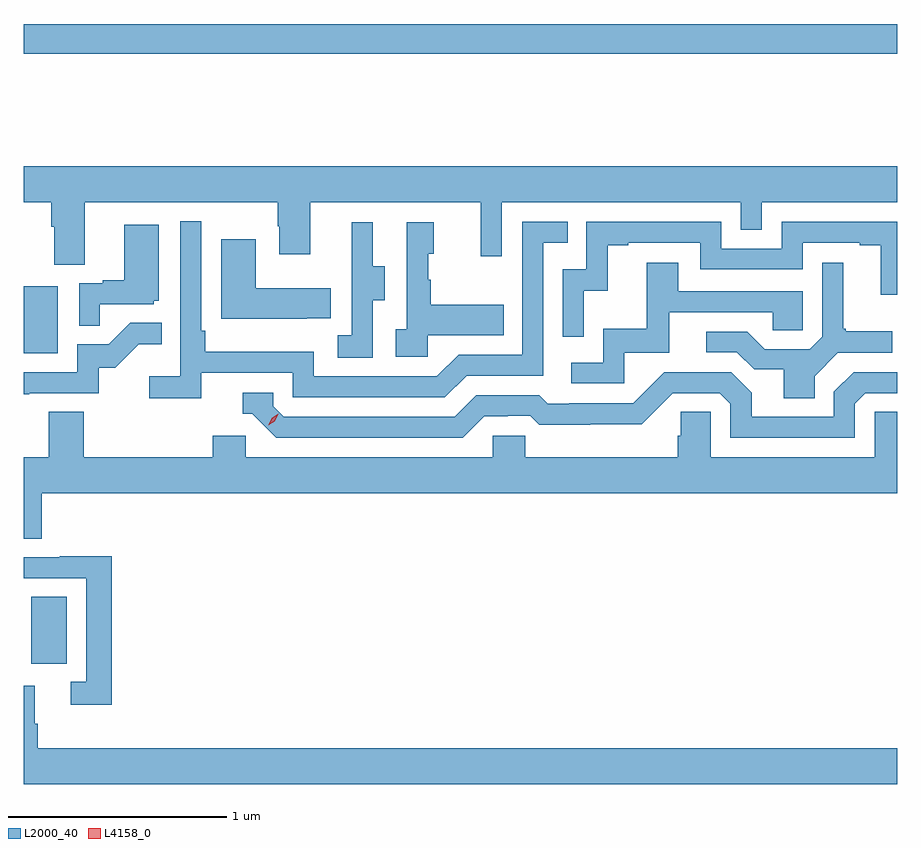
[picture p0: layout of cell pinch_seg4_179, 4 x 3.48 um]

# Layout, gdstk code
import gdstk
lib = gdstk.Library(unit=1e-6, precision=1e-09)
def R(c, l, rs):  # rectangles x0, y0, x1, y1
    for r in rs: c.add(gdstk.rectangle(r[:2], r[2:], *l))
def P(c, l, *ps):  # polygons
    for p in ps: c.add(gdstk.Polygon(p, *l))
L2000_40 = (2000, 40)
L4158_0 = (4158, 0)

pinch_seg4_179 = lib.new_cell('pinch_seg4_179')
R(pinch_seg4_179, L2000_40, [(1103.09,796.038,1103.254,796.345), (1103.056,797.46,1103.212,797.767), (1103.056,798.832,1107.056,798.968)])
P(pinch_seg4_179, L2000_40, [(1103.056,798.152),(1103.183,798.152),(1103.183,798.04),(1103.195,798.04),(1103.195,797.866),(1103.335,797.866),(1103.335,798.152),(1104.22,798.152),(1104.22,798.041),(1104.227,798.041),(1104.227,797.913),(1104.367,797.913),(1104.367,798.152),(1105.148,798.152),(1105.148,797.904),(1105.245,797.904),(1105.245,798.152),(1106.34,798.152),(1106.34,798.025),(1106.436,798.025),(1106.436,798.152),(1107.056,798.152),(1107.056,798.316),(1103.056,798.316)],
  [(1103.87,797.37),(1104.288,797.37),(1104.288,797.259),(1104.985,797.259),(1105.084,797.358),(1105.434,797.358),(1105.434,797.967),(1105.547,797.967),(1105.547,798.063),(1105.338,798.063),(1105.338,797.454),(1105.047,797.454),(1104.948,797.355),(1104.384,797.355),(1104.384,797.467),(1103.888,797.467),(1103.888,797.563),(1103.868,797.563),(1103.868,798.064),(1103.772,798.064),(1103.772,797.356),(1103.631,797.356),(1103.631,797.254),(1103.87,797.254)],
  [(1105.62,797.747),(1105.73,797.747),(1105.73,797.955),(1105.825,797.955),(1105.825,797.967),(1106.154,797.967),(1106.154,797.844),(1106.622,797.844),(1106.622,797.967),(1106.885,797.967),(1106.885,797.955),(1106.981,797.955),(1106.981,797.729),(1107.056,797.729),(1107.056,798.063),(1106.526,798.063),(1106.526,797.94),(1106.25,797.94),(1106.25,798.063),(1105.632,798.063),(1105.632,797.844),(1105.524,797.844),(1105.524,797.535),(1105.62,797.535)],
  [(1104.654,797.704),(1104.709,797.704),(1104.709,797.859),(1104.655,797.859),(1104.655,798.061),(1104.557,798.061),(1104.557,797.847),(1104.558,797.847),(1104.558,797.543),(1104.495,797.543),(1104.495,797.44),(1104.654,797.44)],
  [(1104.906,797.543),(1105.253,797.543),(1105.253,797.683),(1104.919,797.683),(1104.919,797.798),(1104.909,797.798),(1104.909,797.916),(1104.934,797.916),(1104.934,798.061),(1104.81,798.061),(1104.81,797.57),(1104.759,797.57),(1104.759,797.445),(1104.906,797.445)],
  [(1103.405,797.685),(1103.652,797.685),(1103.652,797.7),(1103.674,797.7),(1103.674,798.049),(1103.516,798.049),(1103.516,797.794),(1103.417,797.794),(1103.417,797.781),(1103.31,797.781),(1103.31,797.587),(1103.405,797.587)],
  [(1104.353,797.621),(1104.461,797.621),(1104.461,797.758),(1104.118,797.758),(1104.118,797.983),(1103.96,797.983),(1103.96,797.618),(1104.353,797.618)],
  [(1105.806,797.463),(1106.011,797.463),(1106.011,797.649),(1106.485,797.649),(1106.485,797.565),(1106.622,797.565),(1106.622,797.745),(1106.053,797.745),(1106.053,797.875),(1105.909,797.875),(1105.909,797.572),(1105.71,797.572),(1105.71,797.418),(1105.563,797.418),(1105.563,797.322),(1105.806,797.322)],
  [(1106.677,797.356),(1106.784,797.463),(1107.034,797.463),(1107.034,797.56),(1106.821,797.56),(1106.821,797.572),(1106.809,797.572),(1106.809,797.875),(1106.712,797.875),(1106.712,797.535),(1106.655,797.478),(1106.449,797.478),(1106.368,797.559),(1106.181,797.559),(1106.181,797.466),(1106.322,797.466),(1106.402,797.386),(1106.537,797.386),(1106.537,797.254),(1106.677,797.254)],
  [(1103.081,797.277),(1103.4,797.277),(1103.4,797.394),(1103.476,797.394),(1103.583,797.501),(1103.687,797.501),(1103.687,797.6),(1103.543,797.6),(1103.445,797.502),(1103.301,797.502),(1103.301,797.373),(1103.056,797.373),(1103.056,797.272),(1103.081,797.272)],
  [(1105.165,797.172),(1105.272,797.172),(1105.272,797.175),(1105.375,797.175),(1105.417,797.133),(1105.65,797.133),(1105.65,797.135),(1105.886,797.135),(1106.028,797.277),(1106.244,797.277),(1106.292,797.229),(1106.292,797.073),(1106.862,797.073),(1106.862,797.229),(1106.91,797.277),(1107.056,797.277),(1107.056,797.373),(1106.856,797.373),(1106.766,797.283),(1106.766,797.169),(1106.389,797.169),(1106.389,797.279),(1106.295,797.373),(1105.989,797.373),(1105.848,797.232),(1105.555,797.232),(1105.555,797.229),(1105.456,797.229),(1105.417,797.268),(1105.128,797.268),(1105.029,797.169),(1104.246,797.169),(1104.198,797.217),(1104.198,797.28),(1104.059,797.28),(1104.059,797.184),(1104.102,797.184),(1104.213,797.073),(1105.066,797.073)],
  [(1103.138,796.82),(1107.056,796.82),(1107.056,797.192),(1106.952,797.192),(1106.952,796.984),(1106.202,796.984),(1106.202,797.192),(1106.065,797.192),(1106.065,797.082),(1106.051,797.082),(1106.051,796.984),(1105.353,796.984),(1105.353,797.082),(1105.203,797.082),(1105.203,796.984),(1104.072,796.984),(1104.072,797.082),(1103.921,797.082),(1103.921,796.984),(1103.33,796.984),(1103.33,797.192),(1103.17,797.192),(1103.17,796.984),(1103.056,796.984),(1103.056,796.612),(1103.138,796.612)],
  [(1103.459,796.532),(1103.221,796.532),(1103.221,796.527),(1103.056,796.527),(1103.056,796.431),(1103.343,796.431),(1103.343,795.957),(1103.271,795.957),(1103.271,795.852),(1103.459,795.852)],
  [(1107.056,795.652),(1103.12,795.652),(1103.12,795.764),(1103.107,795.764),(1103.107,795.938),(1103.056,795.938),(1103.056,795.488),(1107.056,795.488)])
P(pinch_seg4_179, L4158_0, [(1104.176,797.13),(1104.176,797.131),(1104.191,797.163),(1104.221,797.184),(1104.222,797.184),(1104.222,797.183),(1104.206,797.15),(1104.176,797.13)])

lib.write_gds('pinch_seg4_179.gds')
